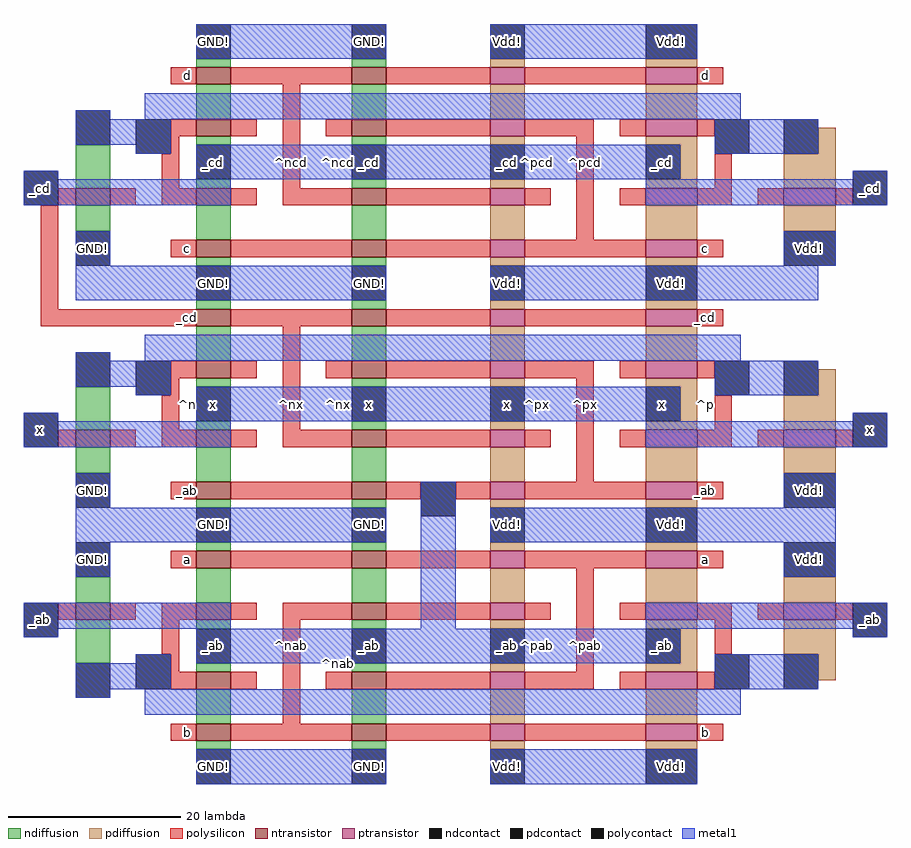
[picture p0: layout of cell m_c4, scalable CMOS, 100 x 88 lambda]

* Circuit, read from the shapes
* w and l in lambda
.subckt m_c4 GND! Vdd! _ab _cd a b c d x
M1 GND! _ab n1 VSUBS nfet w=4 l=2
M2 n2 x GND! VSUBS nfet w=4 l=2
M3 n3 _cd GND! VSUBS nfet w=4 l=2
M4 n4 b GND! VSUBS nfet w=4 l=2
M5 _ab n1 n4 VSUBS nfet w=4 l=2
M6 n5 n1 _ab VSUBS nfet w=4 l=2
M7 GND! a n5 VSUBS nfet w=4 l=2
M8 n6 _ab GND! VSUBS nfet w=4 l=2
M9 x n2 n6 VSUBS nfet w=4 l=2
M10 n7 n2 x VSUBS nfet w=4 l=2
M11 GND! _cd n7 VSUBS nfet w=4 l=2
M12 n8 c GND! VSUBS nfet w=4 l=2
M13 _cd n3 n8 VSUBS nfet w=4 l=2
M14 n9 n3 _cd VSUBS nfet w=4 l=2
M15 GND! d n9 VSUBS nfet w=4 l=2
M16 n10 b GND! VSUBS nfet w=4 l=2
M17 _ab a n10 VSUBS nfet w=4 l=2
M18 n11 b _ab VSUBS nfet w=4 l=2
M19 GND! a n11 VSUBS nfet w=4 l=2
M20 n12 _ab GND! VSUBS nfet w=4 l=2
M21 x _cd n12 VSUBS nfet w=4 l=2
M22 n13 _ab x VSUBS nfet w=4 l=2
M23 GND! _cd n13 VSUBS nfet w=4 l=2
M24 n14 c GND! VSUBS nfet w=4 l=2
M25 _cd d n14 VSUBS nfet w=4 l=2
M26 n15 c _cd VSUBS nfet w=4 l=2
M27 GND! d n15 VSUBS nfet w=4 l=2
M28 n16 b Vdd! NWELL pfet w=4 l=2
M29 _ab a n16 NWELL pfet w=4 l=2
M30 n17 b _ab NWELL pfet w=4 l=2
M31 Vdd! a n17 NWELL pfet w=4 l=2
M32 n18 _ab Vdd! NWELL pfet w=4 l=2
M33 x _cd n18 NWELL pfet w=4 l=2
M34 n19 _ab x NWELL pfet w=4 l=2
M35 Vdd! _cd n19 NWELL pfet w=4 l=2
M36 n20 c Vdd! NWELL pfet w=4 l=2
M37 _cd d n20 NWELL pfet w=4 l=2
M38 n21 c _cd NWELL pfet w=4 l=2
M39 Vdd! d n21 NWELL pfet w=4 l=2
M40 n22 b Vdd! NWELL pfet w=6 l=2
M41 _ab n1 n22 NWELL pfet w=6 l=2
M42 n23 n1 _ab NWELL pfet w=6 l=2
M43 Vdd! a n23 NWELL pfet w=6 l=2
M44 n24 _ab Vdd! NWELL pfet w=6 l=2
M45 x n2 n24 NWELL pfet w=6 l=2
M46 n25 n2 x NWELL pfet w=6 l=2
M47 Vdd! _cd n25 NWELL pfet w=6 l=2
M48 n26 c Vdd! NWELL pfet w=6 l=2
M49 _cd n3 n26 NWELL pfet w=6 l=2
M50 n27 n3 _cd NWELL pfet w=6 l=2
M51 Vdd! d n27 NWELL pfet w=6 l=2
M52 Vdd! _ab n1 NWELL pfet w=6 l=2
M53 n2 x Vdd! NWELL pfet w=6 l=2
M54 n3 _cd Vdd! NWELL pfet w=6 l=2
.ends

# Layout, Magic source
magic
tech scmos
<< ndiffusion >>
rect 15 143 19 144
rect 33 143 37 144
rect 15 137 19 141
rect 1 129 5 134
rect 15 134 19 135
rect 15 129 19 130
rect 33 137 37 141
rect 33 134 37 135
rect 33 129 37 130
rect 1 124 5 127
rect 15 123 19 127
rect 33 123 37 127
rect 15 120 19 121
rect 15 115 19 116
rect 33 120 37 121
rect 33 115 37 116
rect 15 109 19 113
rect 1 101 5 106
rect 15 106 19 107
rect 15 101 19 102
rect 33 109 37 113
rect 33 106 37 107
rect 33 101 37 102
rect 1 96 5 99
rect 15 95 19 99
rect 33 95 37 99
rect 15 92 19 93
rect 15 87 19 88
rect 33 92 37 93
rect 33 87 37 88
rect 1 81 5 84
rect 15 81 19 85
rect 33 81 37 85
rect 1 74 5 79
rect 15 78 19 79
rect 15 73 19 74
rect 15 67 19 71
rect 33 78 37 79
rect 33 73 37 74
rect 33 67 37 71
rect 15 64 19 65
rect 33 64 37 65
<< pdiffusion >>
rect 49 143 53 144
rect 67 143 73 144
rect 49 137 53 141
rect 67 137 73 141
rect 49 134 53 135
rect 49 129 53 130
rect 49 123 53 127
rect 67 134 73 135
rect 71 130 73 134
rect 67 129 73 130
rect 87 133 89 136
rect 83 129 89 133
rect 67 123 73 127
rect 83 124 89 127
rect 49 120 53 121
rect 49 115 53 116
rect 67 120 73 121
rect 67 115 73 116
rect 49 109 53 113
rect 67 109 73 113
rect 49 106 53 107
rect 49 101 53 102
rect 49 95 53 99
rect 67 106 73 107
rect 71 102 73 106
rect 67 101 73 102
rect 87 105 89 108
rect 83 101 89 105
rect 67 95 73 99
rect 83 96 89 99
rect 49 92 53 93
rect 49 87 53 88
rect 67 92 73 93
rect 67 87 73 88
rect 49 81 53 85
rect 49 78 53 79
rect 49 73 53 74
rect 67 81 73 85
rect 83 81 89 84
rect 67 78 73 79
rect 71 74 73 78
rect 67 73 73 74
rect 83 75 89 79
rect 87 72 89 75
rect 49 67 53 71
rect 67 67 73 71
rect 49 64 53 65
rect 67 64 73 65
<< ntransistor >>
rect 15 141 19 143
rect 33 141 37 143
rect 15 135 19 137
rect 33 135 37 137
rect 1 127 5 129
rect 15 127 19 129
rect 33 127 37 129
rect 15 121 19 123
rect 33 121 37 123
rect 15 113 19 115
rect 33 113 37 115
rect 15 107 19 109
rect 33 107 37 109
rect 1 99 5 101
rect 15 99 19 101
rect 33 99 37 101
rect 15 93 19 95
rect 33 93 37 95
rect 15 85 19 87
rect 33 85 37 87
rect 1 79 5 81
rect 15 79 19 81
rect 33 79 37 81
rect 15 71 19 73
rect 33 71 37 73
rect 15 65 19 67
rect 33 65 37 67
<< ptransistor >>
rect 49 141 53 143
rect 67 141 73 143
rect 49 135 53 137
rect 67 135 73 137
rect 49 127 53 129
rect 67 127 73 129
rect 83 127 89 129
rect 49 121 53 123
rect 67 121 73 123
rect 49 113 53 115
rect 67 113 73 115
rect 49 107 53 109
rect 67 107 73 109
rect 49 99 53 101
rect 67 99 73 101
rect 83 99 89 101
rect 49 93 53 95
rect 67 93 73 95
rect 49 85 53 87
rect 67 85 73 87
rect 49 79 53 81
rect 67 79 73 81
rect 83 79 89 81
rect 49 71 53 73
rect 67 71 73 73
rect 49 65 53 67
rect 67 65 73 67
<< polysilicon >>
rect 12 141 15 143
rect 19 141 33 143
rect 37 141 49 143
rect 53 141 67 143
rect 73 141 76 143
rect 12 135 15 137
rect 19 135 22 137
rect 12 133 13 135
rect 11 129 13 133
rect 25 129 27 141
rect 30 135 33 137
rect 37 135 49 137
rect 53 135 61 137
rect 64 135 67 137
rect 73 135 75 137
rect -1 127 1 129
rect 5 127 8 129
rect 11 127 15 129
rect 19 127 22 129
rect 25 127 33 129
rect 37 127 49 129
rect 53 127 56 129
rect -3 115 -1 127
rect 59 123 61 135
rect 75 129 77 133
rect 64 127 67 129
rect 73 127 77 129
rect 80 127 83 129
rect 89 127 91 129
rect 12 121 15 123
rect 19 121 33 123
rect 37 121 49 123
rect 53 121 67 123
rect 73 121 76 123
rect -3 113 15 115
rect 19 113 33 115
rect 37 113 49 115
rect 53 113 67 115
rect 73 113 76 115
rect 12 107 15 109
rect 19 107 22 109
rect 12 105 13 107
rect 11 101 13 105
rect 25 101 27 113
rect 30 107 33 109
rect 37 107 49 109
rect 53 107 61 109
rect 64 107 67 109
rect 73 107 75 109
rect -1 99 1 101
rect 5 99 8 101
rect 11 99 15 101
rect 19 99 22 101
rect 25 99 33 101
rect 37 99 49 101
rect 53 99 56 101
rect 59 95 61 107
rect 75 101 77 105
rect 64 99 67 101
rect 73 99 77 101
rect 80 99 83 101
rect 89 99 91 101
rect 12 93 15 95
rect 19 93 33 95
rect 37 93 41 95
rect 45 93 49 95
rect 53 93 67 95
rect 73 93 76 95
rect 12 85 15 87
rect 19 85 33 87
rect 37 85 49 87
rect 53 85 67 87
rect 73 85 76 87
rect -1 79 1 81
rect 5 79 8 81
rect 11 79 15 81
rect 19 79 22 81
rect 25 79 33 81
rect 37 79 49 81
rect 53 79 56 81
rect 11 75 13 79
rect 12 73 13 75
rect 12 71 15 73
rect 19 71 22 73
rect 25 67 27 79
rect 59 73 61 85
rect 64 79 67 81
rect 73 79 77 81
rect 80 79 83 81
rect 89 79 91 81
rect 75 75 77 79
rect 30 71 33 73
rect 37 71 49 73
rect 53 71 61 73
rect 64 71 67 73
rect 73 71 75 73
rect 12 65 15 67
rect 19 65 33 67
rect 37 65 49 67
rect 53 65 67 67
rect 73 65 76 67
<< ndcontact >>
rect 15 144 19 148
rect 33 144 37 148
rect 1 134 5 138
rect 15 130 19 134
rect 33 130 37 134
rect 1 120 5 124
rect 15 116 19 120
rect 33 116 37 120
rect 1 106 5 110
rect 15 102 19 106
rect 33 102 37 106
rect 1 92 5 96
rect 15 88 19 92
rect 1 84 5 88
rect 33 88 37 92
rect 1 70 5 74
rect 15 74 19 78
rect 33 74 37 78
rect 15 60 19 64
rect 33 60 37 64
<< pdcontact >>
rect 49 144 53 148
rect 67 144 73 148
rect 49 130 53 134
rect 67 130 71 134
rect 83 133 87 137
rect 49 116 53 120
rect 83 120 89 124
rect 67 116 73 120
rect 49 102 53 106
rect 67 102 71 106
rect 83 105 87 109
rect 49 88 53 92
rect 83 92 89 96
rect 67 88 73 92
rect 49 74 53 78
rect 83 84 89 88
rect 67 74 71 78
rect 83 71 87 75
rect 49 60 53 64
rect 67 60 73 64
<< polycontact >>
rect -5 127 -1 131
rect 8 133 12 137
rect 75 133 79 137
rect 91 127 95 131
rect -5 99 -1 103
rect 8 105 12 109
rect 75 105 79 109
rect 91 99 95 103
rect 41 91 45 95
rect -5 77 -1 81
rect 8 71 12 75
rect 91 77 95 81
rect 75 71 79 75
<< metal1 >>
rect 15 144 37 148
rect 49 144 73 148
rect 1 137 5 138
rect 9 137 78 140
rect 1 134 12 137
rect 8 133 12 134
rect -5 130 -1 131
rect 15 130 71 134
rect 75 133 87 137
rect 91 130 95 131
rect -5 127 19 130
rect 67 127 95 130
rect 1 120 5 124
rect 83 120 89 124
rect 1 116 37 120
rect 49 116 87 120
rect 1 109 5 110
rect 9 109 78 112
rect 1 106 12 109
rect 8 105 12 106
rect -5 102 -1 103
rect 15 102 71 106
rect 75 105 87 109
rect 91 102 95 103
rect -5 99 19 102
rect 67 99 95 102
rect 1 92 5 96
rect 1 88 37 92
rect 1 84 5 88
rect -5 78 19 81
rect 41 78 45 95
rect 83 92 89 96
rect 49 88 89 92
rect 83 84 89 88
rect 67 78 95 81
rect -5 77 -1 78
rect 8 74 12 75
rect 15 74 71 78
rect 91 77 95 78
rect 1 71 12 74
rect 75 71 87 75
rect 1 70 5 71
rect 9 68 78 71
rect 15 60 37 64
rect 49 60 73 64
<< labels >>
rlabel polysilicon 14 94 14 94 1 _ab
rlabel polysilicon 14 114 14 114 1 _cd
rlabel polysilicon 14 66 14 66 5 b
rlabel polysilicon 14 86 14 86 5 a
rlabel polysilicon 14 142 14 142 1 d
rlabel polysilicon 14 122 14 122 1 c
rlabel polysilicon 74 94 74 94 1 _ab
rlabel polysilicon 74 114 74 114 1 _cd
rlabel polysilicon 74 66 74 66 5 b
rlabel polysilicon 74 86 74 86 5 a
rlabel polysilicon 74 142 74 142 1 d
rlabel polysilicon 74 122 74 122 1 c
rlabel space 30 120 33 144 3 ^ncd
rlabel space 24 121 28 143 3 ^ncd
rlabel space 24 93 28 115 3 ^nx
rlabel space 30 92 33 116 3 ^nx
rlabel space 30 60 33 88 3 ^nab
rlabel space 24 65 28 87 3 ^nab
rlabel space 53 64 56 88 7 ^pab
rlabel space 58 65 62 87 7 ^pab
rlabel space 53 92 56 116 7 ^px
rlabel space 58 93 62 115 7 ^px
rlabel space 53 120 56 144 7 ^pcd
rlabel space 58 121 62 143 7 ^pcd
rlabel space 52 59 96 149 3 ^p
rlabel space -6 59 34 149 7 ^n
rlabel ndcontact 35 104 35 104 1 x
rlabel pdcontact 51 104 51 104 1 x
rlabel ndcontact 35 62 35 62 1 GND!
rlabel pdcontact 51 62 51 62 1 Vdd!
rlabel ndcontact 35 90 35 90 1 GND!
rlabel pdcontact 51 90 51 90 1 Vdd!
rlabel pdcontact 51 76 51 76 5 _ab
rlabel ndcontact 35 76 35 76 5 _ab
rlabel pdcontact 51 132 51 132 1 _cd
rlabel ndcontact 35 132 35 132 1 _cd
rlabel pdcontact 51 146 51 146 1 Vdd!
rlabel ndcontact 35 146 35 146 1 GND!
rlabel ndcontact 35 118 35 118 1 GND!
rlabel pdcontact 51 118 51 118 1 Vdd!
rlabel ndcontact 17 62 17 62 1 GND!
rlabel ndcontact 17 146 17 146 1 GND!
rlabel ndcontact 17 118 17 118 1 GND!
rlabel ndcontact 17 90 17 90 1 GND!
rlabel pdcontact 69 104 69 104 1 x
rlabel pdcontact 70 62 70 62 1 Vdd!
rlabel pdcontact 69 76 69 76 5 _ab
rlabel pdcontact 69 132 69 132 1 _cd
rlabel pdcontact 70 146 70 146 1 Vdd!
rlabel pdcontact 70 118 70 118 1 Vdd!
rlabel pdcontact 70 90 70 90 1 Vdd!
rlabel ndcontact 17 132 17 132 1 _cd
rlabel ndcontact 17 104 17 104 1 x
rlabel ndcontact 17 76 17 76 5 _ab
rlabel pdcontact 86 94 86 94 1 Vdd!
rlabel pdcontact 86 86 86 86 5 Vdd!
rlabel pdcontact 86 122 86 122 1 Vdd!
rlabel polycontact 93 101 93 101 1 x
rlabel polycontact 93 79 93 79 5 _ab
rlabel polycontact 93 129 93 129 1 _cd
rlabel ndcontact 3 86 3 86 5 GND!
rlabel ndcontact 3 94 3 94 1 GND!
rlabel ndcontact 3 122 3 122 1 GND!
rlabel polycontact -3 79 -3 79 5 _ab
rlabel polycontact -3 129 -3 129 1 _cd
rlabel polycontact -3 101 -3 101 1 x
<< end >>
